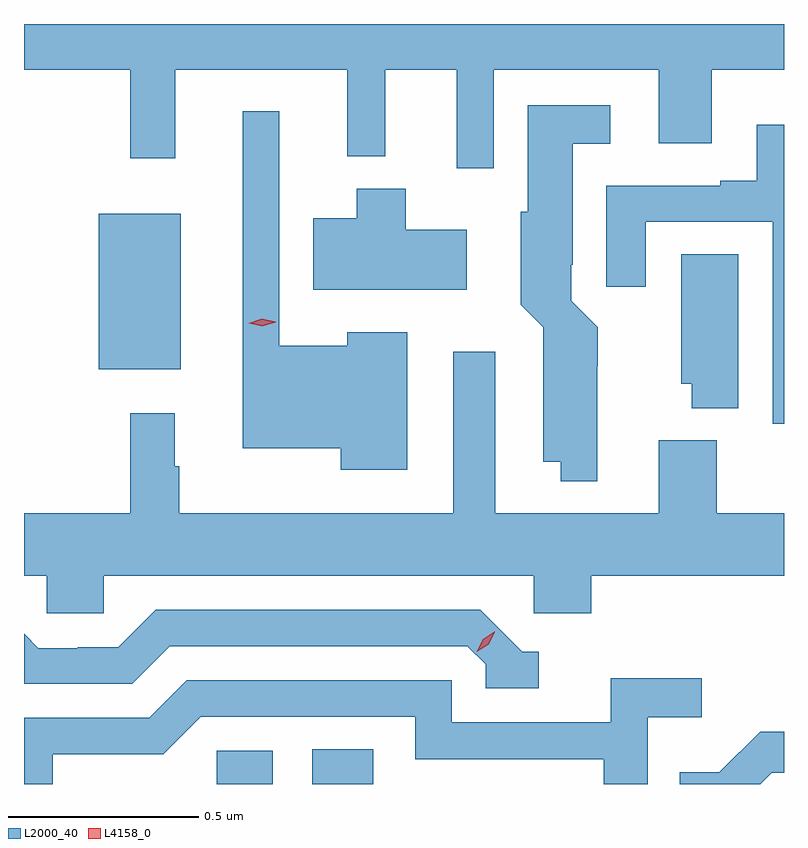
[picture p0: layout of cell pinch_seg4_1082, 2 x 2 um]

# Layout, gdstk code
import gdstk
lib = gdstk.Library(unit=1e-6, precision=1e-09)
def R(c, l, rs):  # rectangles x0, y0, x1, y1
    for r in rs: c.add(gdstk.rectangle(r[:2], r[2:], *l))
def P(c, l, *ps):  # polygons
    for p in ps: c.add(gdstk.Polygon(p, *l))
L2000_40 = (2000, 40)
L4158_0 = (4158, 0)

pinch_seg4_1082 = lib.new_cell('pinch_seg4_1082')
R(pinch_seg4_1082, L2000_40, [(853.644,764.304,853.792,764.391), (853.896,764.304,854.056,764.396), (853.334,765.395,853.549,765.805)])
P(pinch_seg4_1082, L2000_40, [(854.373,766.184),(854.807,766.184),(854.807,765.99),(854.947,765.99),(854.947,766.184),(855.137,766.184),(855.137,766.304),(853.137,766.304),(853.137,766.184),(853.417,766.184),(853.417,765.951),(853.535,765.951),(853.535,766.184),(853.988,766.184),(853.988,765.956),(854.087,765.956),(854.087,766.184),(854.276,766.184),(854.276,765.924),(854.373,765.924)],
  [(854.646,765.404),(854.647,765.404),(854.647,765.506),(854.577,765.576),(854.577,765.67),(854.581,765.67),(854.581,765.989),(854.68,765.989),(854.68,766.09),(854.462,766.09),(854.462,765.81),(854.444,765.81),(854.444,765.565),(854.504,765.506),(854.504,765.152),(854.549,765.152),(854.549,765.101),(854.646,765.101)],
  [(854.146,765.493),(853.988,765.493),(853.988,765.457),(853.809,765.457),(853.809,766.075),(853.712,766.075),(853.712,765.188),(853.971,765.188),(853.971,765.131),(854.146,765.131)],
  [(855.137,766.039),(855.065,766.039),(855.065,765.892),(854.969,765.892),(854.969,765.879),(854.669,765.879),(854.669,765.612),(854.773,765.612),(854.773,765.783),(855.107,765.783),(855.107,765.252),(855.137,765.252)],
  [(854.302,765.763),(854.142,765.763),(854.142,765.871),(854.012,765.871),(854.012,765.793),(853.898,765.793),(853.898,765.605),(854.302,765.605)],
  [(855.016,765.698),(854.867,765.698),(854.867,765.357),(854.894,765.357),(854.894,765.293),(855.016,765.293)],
  [(853.347,764.852),(854.478,764.852),(854.478,764.754),(854.63,764.754),(854.63,764.852),(855.137,764.852),(855.137,765.016),(854.96,765.016),(854.96,765.208),(854.807,765.208),(854.807,765.016),(854.377,765.016),(854.377,765.442),(854.267,765.442),(854.267,765.016),(853.546,765.016),(853.546,765.14),(853.534,765.14),(853.534,765.28),(853.417,765.28),(853.417,765.016),(853.137,765.016),(853.137,764.852),(853.197,764.852),(853.197,764.754),(853.347,764.754)],
  [(854.491,764.652),(854.448,764.652),(854.337,764.763),(853.484,764.763),(853.385,764.664),(853.278,764.664),(853.278,764.661),(853.175,764.661),(853.137,764.7),(853.137,764.568),(853.422,764.568),(853.521,764.667),(854.304,764.667),(854.352,764.619),(854.352,764.556),(854.491,764.556)],
  [(853.212,764.382),(853.503,764.382),(853.602,764.481),(854.166,764.481),(854.166,764.369),(854.662,764.369),(854.662,764.304),(854.778,764.304),(854.778,764.48),(854.92,764.48),(854.92,764.582),(854.681,764.582),(854.681,764.466),(854.262,764.466),(854.262,764.577),(853.565,764.577),(853.466,764.478),(853.137,764.478),(853.137,764.304),(853.212,764.304)],
  [(855.105,764.334),(855.137,764.334),(855.137,764.442),(855.074,764.442),(854.967,764.335),(854.863,764.335),(854.863,764.304),(855.075,764.304)])
P(pinch_seg4_1082, L4158_0, [(853.764,765.508),(853.728,765.516),(853.728,765.516),(853.728,765.516),(853.763,765.528),(853.799,765.52),(853.799,765.52),(853.799,765.519)],
  [(854.329,764.652),(854.329,764.652),(854.345,764.685),(854.375,764.705),(854.376,764.705),(854.376,764.705),(854.36,764.672),(854.329,764.652)])

lib.write_gds('pinch_seg4_1082.gds')
